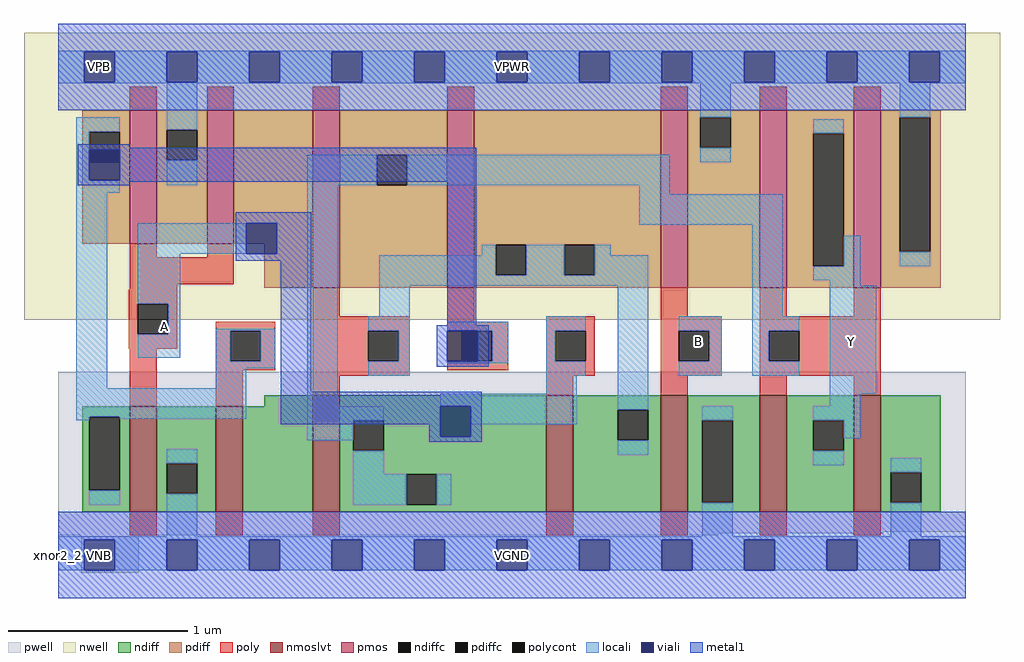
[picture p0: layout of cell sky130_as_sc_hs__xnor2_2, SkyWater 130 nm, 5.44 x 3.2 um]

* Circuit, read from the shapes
.subckt sky130_as_sc_hs__xnor2_2 VNB VPB VPWR VGND A Y B
XM1 VGND A n1 VNB sky130_fd_pr__nfet_01v8_lvt w=0.59 l=0.15
XM2 n2 n1 VGND VNB sky130_fd_pr__nfet_01v8_lvt w=0.59 l=0.15
XM3 n3 n4 n2 VNB sky130_fd_pr__nfet_01v8_lvt w=0.65 l=0.15
XM4 n4 A n3 VNB sky130_fd_pr__nfet_01v8_lvt w=0.65 l=0.15
XM5 VGND B n4 VNB sky130_fd_pr__nfet_01v8_lvt w=0.65 l=0.15
XM6 Y n3 VGND VNB sky130_fd_pr__nfet_01v8_lvt w=0.65 l=0.15 m=2
XM7 VPWR A n1 VPB sky130_fd_pr__pfet_01v8 w=0.745 l=0.15
XM8 n5 A VPWR VPB sky130_fd_pr__pfet_01v8 w=0.745 l=0.15
XM9 n3 n4 n5 VPB sky130_fd_pr__pfet_01v8 w=0.99 l=0.15
XM10 n4 n1 n3 VPB sky130_fd_pr__pfet_01v8 w=0.99 l=0.15
XM11 VPWR B n4 VPB sky130_fd_pr__pfet_01v8 w=0.99 l=0.15
XM12 Y n3 VPWR VPB sky130_fd_pr__pfet_01v8 w=0.99 l=0.15 m=2
.ends

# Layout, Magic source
magic
tech sky130A
magscale 1 2
<< nwell >>
rect -38 262 1050 582
<< pwell >>
rect 0 26 1012 204
rect 0 24 920 26
rect 0 22 736 24
rect 782 22 812 24
rect 887 22 917 24
rect 26 -20 90 22
<< pmos >>
rect 80 347 110 496
rect 166 347 196 496
rect 284 298 314 496
rect 434 298 464 496
rect 672 298 702 496
rect 782 298 812 496
rect 887 298 917 496
<< nmoslvt >>
rect 80 48 110 166
rect 176 48 206 166
rect 284 48 314 178
rect 544 48 574 178
rect 672 48 702 178
rect 782 48 812 178
rect 887 48 917 178
<< ndiff >>
rect 230 166 284 178
rect 27 154 80 166
rect 27 72 35 154
rect 69 72 80 154
rect 27 48 80 72
rect 110 102 176 166
rect 110 68 121 102
rect 155 68 176 102
rect 110 48 176 68
rect 206 48 284 166
rect 314 150 544 178
rect 314 116 329 150
rect 363 116 544 150
rect 314 90 544 116
rect 314 56 388 90
rect 422 56 544 90
rect 314 48 544 56
rect 574 162 672 178
rect 574 128 624 162
rect 658 128 672 162
rect 574 48 672 128
rect 702 150 782 178
rect 702 58 718 150
rect 752 58 782 150
rect 702 48 782 58
rect 812 150 887 178
rect 812 116 842 150
rect 876 116 887 150
rect 812 48 887 116
rect 917 92 984 178
rect 917 58 928 92
rect 962 58 984 92
rect 917 48 984 58
<< pdiff >>
rect 27 472 80 496
rect 27 438 35 472
rect 69 438 80 472
rect 27 347 80 438
rect 110 474 166 496
rect 110 440 121 474
rect 155 440 166 474
rect 110 347 166 440
rect 196 347 284 496
rect 230 298 284 347
rect 314 446 434 496
rect 314 412 355 446
rect 389 412 434 446
rect 314 298 434 412
rect 464 346 672 496
rect 464 312 488 346
rect 522 312 564 346
rect 598 312 672 346
rect 464 298 672 312
rect 702 488 782 496
rect 702 454 716 488
rect 750 454 782 488
rect 702 298 782 454
rect 812 470 887 496
rect 812 322 842 470
rect 876 322 887 470
rect 812 298 887 322
rect 917 488 984 496
rect 917 338 938 488
rect 972 338 984 488
rect 917 298 984 338
<< ndiffc >>
rect 35 72 69 154
rect 121 68 155 102
rect 329 116 363 150
rect 388 56 422 90
rect 624 128 658 162
rect 718 58 752 150
rect 842 116 876 150
rect 928 58 962 92
<< pdiffc >>
rect 35 438 69 472
rect 121 440 155 474
rect 355 412 389 446
rect 488 312 522 346
rect 564 312 598 346
rect 716 454 750 488
rect 842 322 876 470
rect 938 338 972 488
<< poly >>
rect 80 496 110 522
rect 166 496 196 522
rect 284 496 314 522
rect 434 496 464 522
rect 672 496 702 522
rect 782 496 812 522
rect 887 496 917 522
rect 80 332 110 347
rect 166 332 196 347
rect 80 302 196 332
rect 80 296 133 302
rect 79 280 133 296
rect 79 246 89 280
rect 123 246 133 280
rect 284 266 314 298
rect 79 230 133 246
rect 176 250 242 260
rect 80 166 110 230
rect 176 216 192 250
rect 226 216 242 250
rect 176 206 242 216
rect 284 250 392 266
rect 284 216 346 250
rect 380 216 392 250
rect 176 166 206 206
rect 284 200 392 216
rect 434 260 464 298
rect 672 266 702 298
rect 782 266 812 298
rect 887 266 917 298
rect 434 250 502 260
rect 434 216 450 250
rect 484 216 502 250
rect 434 206 502 216
rect 544 250 598 266
rect 544 216 554 250
rect 588 216 598 250
rect 544 200 598 216
rect 672 250 740 266
rect 672 216 692 250
rect 726 216 740 250
rect 672 200 740 216
rect 782 250 917 266
rect 782 216 792 250
rect 826 216 917 250
rect 782 200 917 216
rect 284 178 314 200
rect 544 178 574 200
rect 672 178 702 200
rect 782 178 812 200
rect 887 178 917 200
rect 80 22 110 48
rect 176 22 206 48
rect 284 22 314 48
rect 544 22 574 48
rect 672 22 702 48
rect 782 22 812 48
rect 887 22 917 48
<< polycont >>
rect 89 246 123 280
rect 192 216 226 250
rect 346 216 380 250
rect 450 216 484 250
rect 554 216 588 250
rect 692 216 726 250
rect 792 216 826 250
<< locali >>
rect 0 561 1012 562
rect 0 527 29 561
rect 63 527 121 561
rect 155 527 213 561
rect 247 527 305 561
rect 339 527 397 561
rect 431 527 489 561
rect 523 527 581 561
rect 615 527 673 561
rect 707 527 765 561
rect 799 527 857 561
rect 891 527 949 561
rect 983 527 1012 561
rect 0 526 1012 527
rect 20 472 69 488
rect 20 418 35 472
rect 20 404 69 418
rect 121 474 155 526
rect 716 488 750 526
rect 938 488 972 526
rect 121 412 155 440
rect 278 412 355 446
rect 389 412 682 446
rect 716 438 750 454
rect 842 470 876 486
rect 20 186 55 404
rect 89 336 210 370
rect 89 280 136 336
rect 123 246 136 280
rect 89 220 136 246
rect 176 250 242 252
rect 176 216 192 250
rect 226 216 242 250
rect 176 208 242 216
rect 176 186 210 208
rect 20 154 210 186
rect 20 150 35 154
rect 69 152 210 154
rect 278 166 312 412
rect 648 402 682 412
rect 648 368 808 402
rect 472 334 488 346
rect 358 312 488 334
rect 522 312 564 346
rect 598 334 616 346
rect 598 312 658 334
rect 358 300 658 312
rect 358 266 392 300
rect 346 250 392 266
rect 380 216 392 250
rect 346 200 392 216
rect 434 250 502 260
rect 484 216 502 250
rect 434 214 502 216
rect 544 250 588 266
rect 544 216 554 250
rect 544 200 588 216
rect 544 180 578 200
rect 426 166 578 180
rect 278 150 363 166
rect 278 128 329 150
rect 35 56 69 72
rect 121 102 155 118
rect 121 21 155 68
rect 460 146 578 166
rect 624 162 658 300
rect 774 266 808 368
rect 876 322 894 356
rect 938 322 972 338
rect 842 306 894 322
rect 860 300 894 306
rect 692 250 740 266
rect 726 216 740 250
rect 692 200 740 216
rect 774 250 826 266
rect 774 216 792 250
rect 774 200 826 216
rect 860 180 912 300
rect 860 166 894 180
rect 329 90 363 116
rect 624 112 658 128
rect 718 150 752 166
rect 329 56 388 90
rect 422 56 438 90
rect 842 150 894 166
rect 876 130 894 150
rect 842 100 876 116
rect 718 21 752 58
rect 928 92 962 108
rect 928 21 962 58
rect 0 17 1012 21
rect 0 -17 29 17
rect 63 -17 121 17
rect 155 -17 213 17
rect 247 -17 305 17
rect 339 -17 397 17
rect 431 -17 489 17
rect 523 -17 581 17
rect 615 -17 673 17
rect 707 -17 765 17
rect 799 -17 857 17
rect 891 -17 949 17
rect 983 -17 1012 17
<< viali >>
rect 29 527 63 561
rect 121 527 155 561
rect 213 527 247 561
rect 305 527 339 561
rect 397 527 431 561
rect 489 527 523 561
rect 581 527 615 561
rect 673 527 707 561
rect 765 527 799 561
rect 857 527 891 561
rect 949 527 983 561
rect 35 438 69 452
rect 35 418 69 438
rect 210 336 244 370
rect 434 216 450 250
rect 450 216 468 250
rect 426 132 460 166
rect 29 -17 63 17
rect 121 -17 155 17
rect 213 -17 247 17
rect 305 -17 339 17
rect 397 -17 431 17
rect 489 -17 523 17
rect 581 -17 615 17
rect 673 -17 707 17
rect 765 -17 799 17
rect 857 -17 891 17
rect 949 -17 983 17
<< metal1 >>
rect 0 561 1012 592
rect 0 527 29 561
rect 63 527 121 561
rect 155 527 213 561
rect 247 527 305 561
rect 339 527 397 561
rect 431 527 489 561
rect 523 527 581 561
rect 615 527 673 561
rect 707 527 765 561
rect 799 527 857 561
rect 891 527 949 561
rect 983 527 1012 561
rect 0 496 1012 527
rect 22 454 80 458
rect 22 452 466 454
rect 22 418 35 452
rect 69 418 466 452
rect 22 416 466 418
rect 22 412 80 416
rect 198 370 282 382
rect 198 336 210 370
rect 244 336 282 370
rect 198 328 282 336
rect 248 182 282 328
rect 434 256 466 416
rect 422 250 480 256
rect 422 216 434 250
rect 468 216 480 250
rect 422 210 480 216
rect 248 166 472 182
rect 248 146 426 166
rect 414 132 426 146
rect 460 132 472 166
rect 414 126 472 132
rect 0 17 1012 48
rect 0 -17 29 17
rect 63 -17 121 17
rect 155 -17 213 17
rect 247 -17 305 17
rect 339 -17 397 17
rect 431 -17 489 17
rect 523 -17 581 17
rect 615 -17 673 17
rect 707 -17 765 17
rect 799 -17 857 17
rect 891 -17 949 17
rect 983 -17 1012 17
rect 0 -48 1012 -17
<< labels >>
rlabel comment s 0 0 0 0 4 xnor2_2
flabel pwell s 29 -17 63 17 0 FreeSans 200 0 0 0 VNB
port 1 nsew ground bidirectional
flabel pwell s 46 0 46 0 0 FreeSans 200 0 0 0 VNB
flabel nwell s 29 527 63 561 0 FreeSans 200 0 0 0 VPB
port 2 nsew power bidirectional
flabel nwell s 46 544 46 544 0 FreeSans 200 0 0 0 VPB
flabel metal1 s 29 527 63 561 0 FreeSans 200 0 0 0 VPWR
port 3 nsew power bidirectional abutment
flabel metal1 s 29 -17 63 17 0 FreeSans 200 0 0 0 VGND
port 4 nsew ground bidirectional abutment
rlabel metal1 s 0 -48 1012 48 1 VGND
port 4 nsew ground bidirectional abutment
rlabel metal1 s 0 496 1012 592 1 VPWR
port 3 nsew power bidirectional abutment
flabel locali 102 238 136 272 0 FreeSans 200 0 0 0 A
port 5 nsew signal input
flabel locali 697 221 731 255 0 FreeSans 200 0 0 0 B
port 7 nsew signal input
flabel locali 714 238 714 238 0 FreeSans 200 0 0 0 B
flabel polycont 119 255 119 255 0 FreeSans 200 0 0 0 A
flabel locali 867 221 901 255 0 FreeSans 200 0 0 0 Y
port 6 nsew signal output
flabel locali 881 238 881 238 0 FreeSans 200 0 0 0 Y
<< properties >>
string FIXED_BBOX 0 0 1012 544
string GDS_FILE $PDKPATH/libs.ref/sky130_as_sc_hs/gds/sky130_as_sc_hs__xnor2_2.gds
string LEFclass CORE
string LEFsite unithd
string LEFsymmetry X Y R90
string MASKHINTS_LVTN 0 -4 1012 214
string MASKHINTS_NSDM 0 -38 1012 204
string MASKHINTS_PSDM 0 272 1012 582
<< end >>
